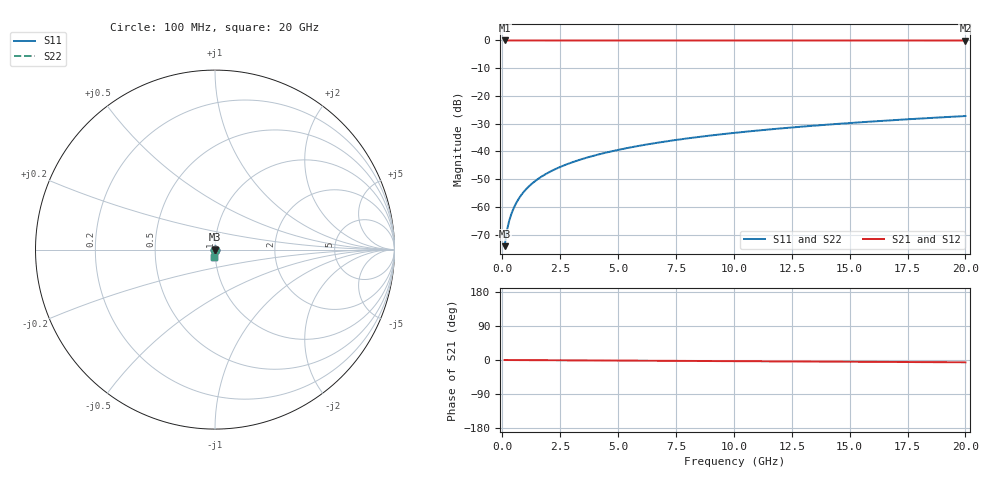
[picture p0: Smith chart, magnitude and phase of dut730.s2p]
! Touchstone file exported from HFSS 2026.1.0
!  File:  C:/ffzhzh/LocalFiles/Ansys_Project_Files/temp_train_TSV_730_1783182520_51560.aedt
!  Generated:  12:29:53 AM Jul  5, 2026
!  Design:  TSV
!  Project:  temp_train_TSV_730_1783182520_51560
! Variables:
!  h_bsmrdl = 2um
!  h_ox = 20um
!  h_rdl = 5um
!  h_sub = 56.27um
!  h_tmrdl = 5um
!  h_tsv = 56.27um
!  h_via = 3um
!  l_bsmrdl = 300um
!  l_sub = 426.32um
!  l_tmrdl = 200um
!  m_sub = 200um
!  pitch = 36.97um
!  r_tsv = 13.16um
!  s_tmrdl = 10um
!  w_bsmrdl = 18um
!  w_sub = 500um
!  w_tmrdl = 12um
!  x_tsv_center1 = 206um
!  x_tsv_center2 = 524um
!  x_tsv_center3 = 736um
!  x_tsv_center4 = 1054um
!  x_tsv_center5 = 1266um
!  x_tsv_center6 = 1584um
# GHz S MA R 50.000000
! Terminal data exported
! Port[1] = TSV1_1_T1
! Port[2] = TSV1_1_T2
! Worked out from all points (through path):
!   200 points, 100 MHz to 20 GHz, reference 50 ohm
!   highest |S21| = 0.00 dB at 100 MHz (marker M1); lowest = 0.0 dB at 20 GHz (marker M2)
!   lowest |S11| = -74.2 dB at 100 MHz (marker M3), VSWR 1.00, Z = 50 - j0.0182 ohm
!   |S11| at or under -10 dB: start of sweep to end of sweep
!   |S22| runs from -74.2 to -27.2 dB; largest |S21 - S12| = 2.1e-15
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0.1  0.0001959 -68.2  0.9999 -0.0  0.9999 -0.0  0.0001959 -68.2
! Gamma 0 0 0 0
! Port Impedance 50 0 50 0
0.2  0.0003766 -77.1  0.9999 -0.1  0.9999 -0.1  0.0003766 -77.1
0.3  0.0005665 -79.8  0.9999 -0.1  0.9999 -0.1  0.0005665 -79.8
0.4  0.0007633 -81.0  0.9999 -0.1  0.9999 -0.1  0.0007633 -81.0
0.5  0.0009659 -81.8  0.9999 -0.2  0.9999 -0.2  0.0009659 -81.8
0.7  0.001383 -82.8  0.9998 -0.2  0.9998 -0.2  0.001383 -82.8
0.8  0.001595 -83.3  0.9998 -0.3  0.9998 -0.3  0.001595 -83.3
1  0.002023 -84.1  0.9998 -0.3  0.9998 -0.3  0.002023 -84.1
1.2  0.002453 -84.8  0.9998 -0.4  0.9998 -0.4  0.002453 -84.8
1.4  0.002883 -85.3  0.9997 -0.4  0.9997 -0.4  0.002883 -85.3
1.7  0.003529 -86.0  0.9997 -0.5  0.9997 -0.5  0.003529 -86.0
2  0.004174 -86.6  0.9997 -0.6  0.9997 -0.6  0.004174 -86.6
2.7  0.005679 -87.5  0.9996 -0.8  0.9996 -0.8  0.005679 -87.5
3.5  0.007402 -88.2  0.9996 -1.1  0.9996 -1.1  0.007402 -88.2
4.2  0.008915 -88.7  0.9995 -1.3  0.9995 -1.3  0.008915 -88.7
5  0.01065 -89.1  0.9995 -1.5  0.9995 -1.5  0.01065 -89.1
6.8  0.01456 -90.0  0.9994 -2.1  0.9994 -2.1  0.01456 -90.0
8.3  0.01783 -90.7  0.9993 -2.6  0.9993 -2.6  0.01783 -90.7
10.1  0.02177 -91.4  0.9991 -3.1  0.9991 -3.1  0.02177 -91.4
13.4  0.02898 -92.6  0.9988 -4.1  0.9988 -4.1  0.02898 -92.6
16.7  0.03619 -93.8  0.9985 -5.1  0.9985 -5.1  0.03619 -93.8
20  0.04341 -94.9  0.9981 -6.1  0.9981 -6.1  0.04341 -94.9
